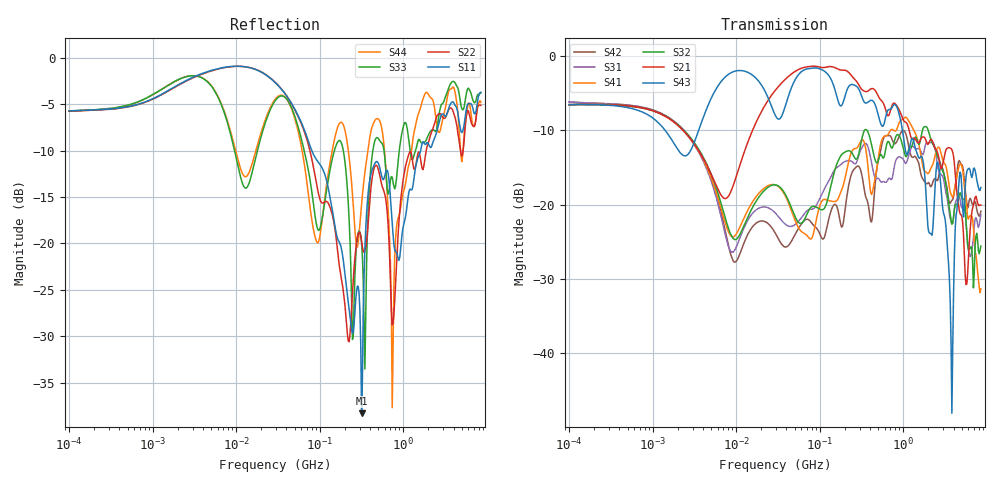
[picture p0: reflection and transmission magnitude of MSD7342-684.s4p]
# MHz S MA R 50
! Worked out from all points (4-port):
!   498 points, 100 kHz to 8.5 GHz, reference 50 ohm
!   strongest paths, dB at 100 kHz, 1.698 MHz, 29.49 MHz, 500.7 MHz, 8.5 GHz:
!     S43: -6.6, -11.3, -8.0, -7.9, -17.7
!     S21: -6.6, -8.7, -4.6, -5.4, -20.1
!     S32: -6.6, -8.6, -17.4, -14.1, -25.6
!     S41: -6.6, -8.7, -17.4, -13.9, -31.4
!     S31: -6.2, -8.6, -21.2, -16.5, -21.4
!     S42: -6.2, -8.6, -23.9, -14.2, -20.9
!   lowest |S11| = -38.3 dB at 317.1 MHz (marker M1), VSWR 1.02, Z = 51.1 - j0.539 ohm
!   |S11| at or under -10 dB: 80.36 MHz to 1.614 GHz (1.534 GHz wide, 181 % of centre)
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0.1  0.517 8.1  0.4699 5.2  0.4892 -9.6  0.4683 -175.9
     0.4699 5.2  0.5155 8.1  0.4694 -175.9  0.491 -9.7
     0.4892 -9.6  0.4694 -175.9  0.5163 8.1  0.4694 5.1
     0.4683 -175.9  0.491 -9.7  0.4694 5.1  0.5151 8.1
26.30734  0.7679 -38.6  0.5403 43.6  0.09256 -91.7  0.1361 88.0
          0.5403 43.6  0.7709 -40.3  0.1343 82.1  0.07059 -93.5
          0.09256 -91.7  0.1343 82.1  0.5389 4.3  0.4626 -18.5
          0.1361 88.0  0.07059 -93.5  0.4626 -18.5  0.5526 1.6
317.0858  0.01216 -25.7  0.597 -69.3  0.2394 -16.2  0.2719 -13.2
          0.597 -69.3  0.1029 -24.8  0.2708 -4.4  0.1611 -27.3
          0.2394 -16.2  0.2708 -4.4  0.09998 -49.4  0.537 -76.2
          0.2719 -13.2  0.1611 -27.3  0.537 -76.2  0.1627 -7.5
2905.739  0.4966 -12.1  0.1779 -51.6  0.1573 -70.1  0.2086 -59.2
          0.1779 -51.6  0.4841 -23.0  0.1728 -80.2  0.1788 -58.6
          0.1573 -70.1  0.1728 -80.2  0.5644 -9.0  0.107 -76.9
          0.2086 -59.2  0.1788 -58.6  0.107 -76.9  0.4448 -26.5
3821.877  0.5771 -137.0  0.2335 162.1  0.07399 -174.8  0.114 -175.0
          0.2335 162.1  0.5316 -145.2  0.0737 173.1  0.1067 -174.5
          0.07399 -174.8  0.0737 173.1  0.7399 -143.2  0.003935 -121.2
          0.114 -175.0  0.1067 -174.5  0.003935 -121.2  0.6835 -152.2
4693.987  0.4456 115.1  0.09084 24.9  0.1126 73.3  0.1834 75.4
          0.09084 24.9  0.352 96.9  0.1178 72.5  0.1973 61.6
          0.1126 73.3  0.1178 72.5  0.6298 91.5  0.1523 173.8
          0.1834 75.4  0.1973 61.6  0.1523 173.8  0.3878 78.7
8500  0.6495 -60.4  0.09917 37.7  0.08553 -4.8  0.02705 -23.8
      0.09917 37.7  0.5533 -75.3  0.0526 -21.6  0.09017 -78.6
      0.08553 -4.8  0.0526 -21.6  0.6494 -68.1  0.1303 13.0
      0.02705 -23.8  0.09017 -78.6  0.1303 13.0  0.5741 -81.2
